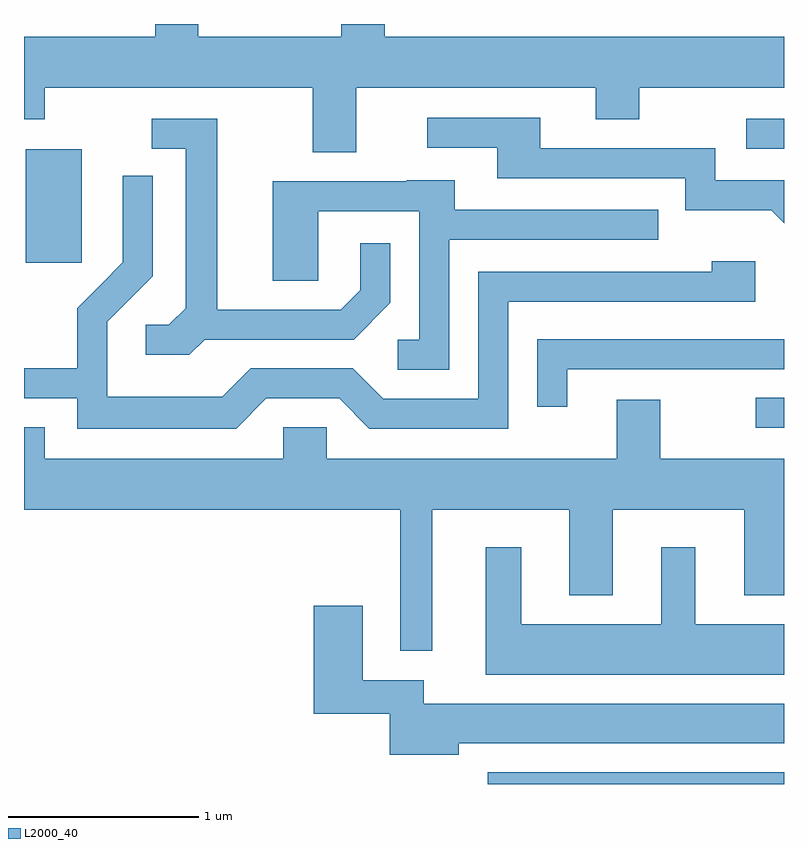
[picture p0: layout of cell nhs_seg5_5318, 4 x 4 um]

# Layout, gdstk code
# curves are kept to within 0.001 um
import gdstk
lib = gdstk.Library(unit=1e-6, precision=1e-09)
def R(c, l, rs):  # rectangles x0, y0, x1, y1
    for r in rs: c.add(gdstk.rectangle(r[:2], r[2:], *l))
def P(c, l, *ps):  # polygons
    for p in ps: c.add(gdstk.Polygon(p, *l))
L2000_40 = (2000, 40)

nhs_seg5_5318 = lib.new_cell('nhs_seg5_5318')
R(nhs_seg5_5318, L2000_40, [(346.051,1402.072,347.611,1402.134), (347.463,1403.946,347.611,1404.104), (343.621,1404.816,343.914,1405.414), (347.413,1405.416,347.611,1405.574)])
P(nhs_seg5_5318, L2000_40, [(345.359,1405.736),(346.621,1405.736),(346.621,1405.571),(346.849,1405.571),(346.849,1405.736),(347.611,1405.736),(347.611,1406.004),(345.509,1406.004),(345.509,1406.072),(345.281,1406.072),(345.281,1406.004),(344.529,1406.004),(344.529,1406.072),(344.301,1406.072),(344.301,1406.004),(343.611,1406.004),(343.611,1405.571),(343.719,1405.571),(343.719,1405.736),(345.131,1405.736),(345.131,1405.396),(345.359,1405.396)],
  [(347.611,1405.249),(347.249,1405.249),(347.249,1405.419),(346.329,1405.419),(346.329,1405.579),(345.733,1405.579),(345.733,1405.421),(346.101,1405.421),(346.101,1405.261),(347.091,1405.261),(347.091,1405.091),(347.544,1405.091),(347.611,1405.024)],
  [(344.562,1404.411),(345.347,1404.411),(345.539,1404.604),(345.539,1404.918),(345.381,1404.918),(345.381,1404.672),(345.279,1404.569),(344.629,1404.569),(344.629,1405.574),(344.283,1405.574),(344.283,1405.416),(344.461,1405.416),(344.461,1404.577),(344.374,1404.489),(344.253,1404.489),(344.253,1404.331),(344.482,1404.331)],
  [(344.887,1404.101),(345.269,1404.101),(345.429,1403.941),(346.159,1403.941),(346.159,1404.611),(347.459,1404.611),(347.459,1404.824),(347.231,1404.824),(347.231,1404.769),(346.001,1404.769),(346.001,1404.099),(345.502,1404.099),(345.342,1404.259),(344.804,1404.259),(344.654,1404.109),(344.049,1404.109),(344.049,1404.504),(344.289,1404.744),(344.289,1405.273),(344.131,1405.273),(344.131,1404.817),(343.891,1404.577),(343.891,1404.259),(343.611,1404.259),(343.611,1404.101),(343.891,1404.101),(343.891,1403.941),(344.727,1403.941)],
  [(345.849,1404.936),(346.948,1404.936),(346.948,1405.094),(345.879,1405.094),(345.879,1405.249),(345.625,1405.249),(345.625,1405.244),(344.921,1405.244),(344.921,1404.721),(345.159,1404.721),(345.159,1405.086),(345.691,1405.086),(345.691,1404.409),(345.578,1404.409),(345.578,1404.251),(345.849,1404.251)],
  [(346.469,1404.256),(347.611,1404.256),(347.611,1404.414),(346.311,1404.414),(346.311,1404.058),(346.469,1404.058)],
  [(345.759,1403.516),(346.481,1403.516),(346.481,1403.066),(346.709,1403.066),(346.709,1403.516),(347.401,1403.516),(347.401,1403.066),(347.611,1403.066),(347.611,1403.784),(346.959,1403.784),(346.959,1404.094),(346.731,1404.094),(346.731,1403.784),(345.204,1403.784),(345.204,1403.949),(344.976,1403.949),(344.976,1403.784),(343.719,1403.784),(343.719,1403.949),(343.611,1403.949),(343.611,1403.516),(345.591,1403.516),(345.591,1402.773),(345.759,1402.773)],
  [(347.611,1402.914),(347.144,1402.914),(347.144,1403.319),(346.966,1403.319),(346.966,1402.914),(346.229,1402.914),(346.229,1403.319),(346.041,1403.319),(346.041,1402.646),(347.611,1402.646)],
  [(345.899,1402.286),(347.611,1402.286),(347.611,1402.494),(345.714,1402.494),(345.714,1402.619),(345.394,1402.619),(345.394,1403.009),(345.136,1403.009),(345.136,1402.441),(345.536,1402.441),(345.536,1402.226),(345.899,1402.226)])

lib.write_gds('nhs_seg5_5318.gds')
